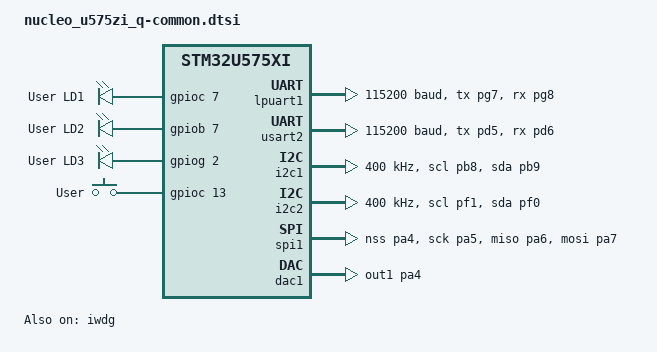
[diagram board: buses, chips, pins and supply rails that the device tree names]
/*
 * Copyright (c) 2021 Linaro Limited
 *
 * SPDX-License-Identifier: Apache-2.0
 */

#include <st/u5/stm32u575Xi.dtsi>
#include <st/u5/stm32u575zitxq-pinctrl.dtsi>
#include "arduino_r3_connector.dtsi"

/ {
	leds {
		compatible = "gpio-leds";
		green_led_1: led_1 {
			gpios = <&gpioc 7 GPIO_ACTIVE_HIGH>;
			label = "User LD1";
		};
		blue_led_1: led_2 {
			gpios = <&gpiob 7 GPIO_ACTIVE_HIGH>;
			label = "User LD2";
		};
		red_led_1: led_3 {
			gpios = <&gpiog 2 GPIO_ACTIVE_HIGH>;
			label = "User LD3";
		};
	};

	gpio_keys {
		compatible = "gpio-keys";
		user_button: button {
			label = "User";
			gpios = <&gpioc 13 GPIO_ACTIVE_HIGH>;
		};
	};
};

&clk_lse {
	status = "okay";
};

&clk_msis {
	status = "okay";
	msi-range = <4>;
	msi-pll-mode;
};

&pll1 {
	div-m = <1>;
	mul-n = <80>;
	div-q = <2>;
	div-r = <2>;
	clocks = <&clk_msis>;
	status = "okay";
};

&rcc {
	clocks = <&pll1>;
	clock-frequency = <DT_FREQ_M(160)>;
	ahb-prescaler = <1>;
	apb1-prescaler = <1>;
	apb2-prescaler = <1>;
	apb3-prescaler = <1>;
};

&lpuart1 {
	pinctrl-0 = <&lpuart1_tx_pg7 &lpuart1_rx_pg8>;
	pinctrl-names = "default";
	current-speed = <115200>;
	status = "okay";
};

&usart2 {
	pinctrl-0 = <&usart2_tx_pd5 &usart2_rx_pd6>;
	pinctrl-names = "default";
	current-speed = <115200>;
	status = "okay";
};

&i2c1 {
	pinctrl-0 = <&i2c1_scl_pb8 &i2c1_sda_pb9>;
	pinctrl-names = "default";
	status = "okay";
	clock-frequency = <I2C_BITRATE_FAST>;
};

&i2c2 {
	pinctrl-0 = <&i2c2_scl_pf1 &i2c2_sda_pf0>;
	pinctrl-names = "default";
	status = "okay";
	clock-frequency = <I2C_BITRATE_FAST>;
};

&spi1 {
	pinctrl-0 = <&spi1_nss_pa4 &spi1_sck_pa5
		     &spi1_miso_pa6 &spi1_mosi_pa7>;
	pinctrl-names = "default";
	status = "okay";
};

&dac1 {
	/* CAUTION: DAC on PA4 may conflict with SPI1 NSS on same pin */
	pinctrl-0 = <&dac1_out1_pa4>;
	pinctrl-names = "default";
	status = "okay";
};

&iwdg {
	status = "okay";
};
